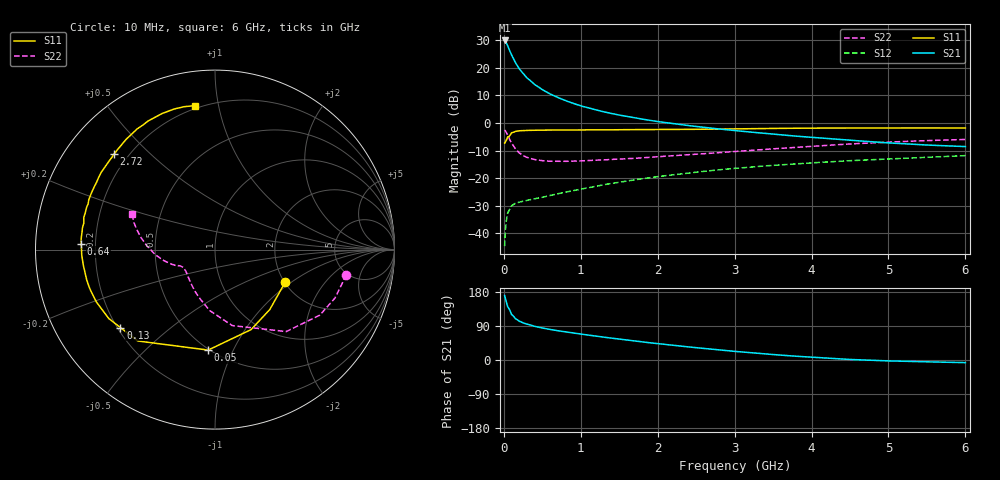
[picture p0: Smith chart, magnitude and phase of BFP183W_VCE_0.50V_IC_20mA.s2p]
! Infineon Technologies  Discrete & RF Semiconductors
! BFP183W
! VCE = 0.50V,  IC =  20 mA
! Common Emitter S-Parameters:  Jan 2016
# GHz  S  MA  R  50
!  f  S11  S21  S12  S22
! GHz  MAG  ANG  MAG  ANG  MAG  ANG  MAG  ANG
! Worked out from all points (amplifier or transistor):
!   210 points, 10 MHz to 6 GHz, reference 50 ohm
!   highest |S21| = 30.0 dB at 10 MHz (marker M1)
!   |S21| within 3 dB of that: start of sweep to 66.16 MHz
!   unconditionally stable (mu >= 1): 367.1 MHz to end of sweep
!   at 185 MHz: K = 0.60, MSG = 24.6 dB, |S12| = -28.9 dB
!   at 1.52 GHz: K = 1.83, MAG = 6.8 dB, |S12| = -21.4 dB
!   at 6 GHz: K = 1.60, MAG = -2.9 dB, |S12| = -11.8 dB
!   S11 on the Smith chart (normalised r, x): 10 MHz: 2.03, -0.89; 50 MHz: 0.49, -0.80; 130 MHz: 0.21, -0.34; 640 MHz: 0.15, +0.02; 2.72 GHz: 0.15, +0.39; 6 GHz: 0.18, +0.85
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0.01  0.4313 -24.6  31.55 170.2  0.0058 80.7  0.7454 -10.9
0.02  0.4523 -47.5  30.57 162.3  0.0113 71.7  0.7208 -22.0
0.03  0.489 -65.7  29.14 154.3  0.0161 66.3  0.6888 -32.0
0.05  0.5611 -93.9  25.17 140.8  0.0231 54.5  0.605 -49.0
0.1  0.6666 -130.2  17.21 120.3  0.0315 39.2  0.4342 -77.2
0.13  0.6829 -140.5  14.29 114.5  0.0334 35.3  0.3736 -86.8
0.15  0.7054 -147.0  12.46 109.1  0.0348 32.9  0.3408 -95.0
0.2  0.7224 -156.2  9.65 102.5  0.0365 31.4  0.2872 -106.7
0.26  0.7314 -163.3  7.62 97.3  0.0382 31.0  0.2526 -117.3
0.3  0.7345 -166.7  6.59 94.5  0.0393 31.6  0.2376 -122.7
0.4  0.7386 -173.1  5.003 88.8  0.0421 33.9  0.2172 -132.4
0.5  0.7431 -177.6  4.03 84.4  0.0448 36.7  0.2071 -138.6
0.64  0.7456 177.6  3.187 79.4  0.0496 39.9  0.2019 -144.2
0.8  0.7468 172.9  2.547 74.2  0.0555 43.5  0.2014 -148.6
1.02  0.7469 168.1  2.013 68.0  0.0638 46.5  0.2055 -151.9
1.4  0.7515 160.1  1.486 57.7  0.0801 49.2  0.2184 -155.4
2.02  0.7622 148.6  1.054 42.8  0.1072 49.5  0.2455 -159.9
2.72  0.7737 136.7  0.8 28.1  0.1379 46.3  0.2845 -166.8
3.1  0.7849 130.5  0.707 21.2  0.1542 43.7  0.31 -171.3
4.1  0.8081 116.2  0.536 6.3  0.1924 36.3  0.3854 175.8
5.1  0.815 105.4  0.428 -2.9  0.2258 28.7  0.4558 164.6
6  0.8098 98.1  0.373 -6.9  0.2557 22.4  0.5025 156.8
